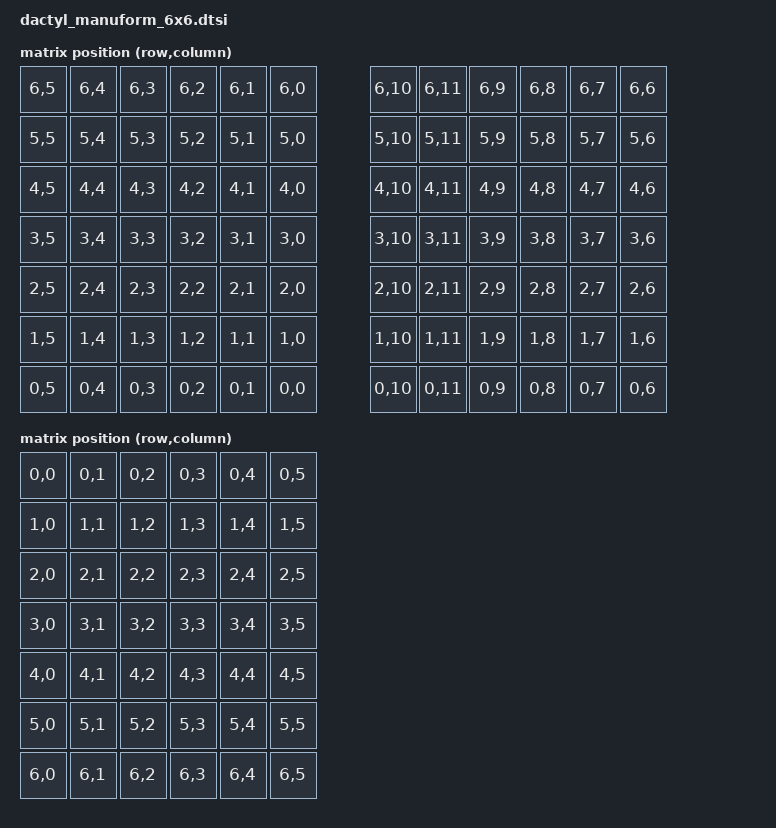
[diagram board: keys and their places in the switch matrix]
/*
 * Dactyl Manuform 6x6 – wspólna definicja tarczy (DTSI)
 *
 * Układ: 6 kolumn × 7 wierszy na każdą połowę = 42 klawisze / strona
 * Razem: 84 klawisze (12 kolumn logicznych × 7 wierszy)
 *
 * Role:
 *   Lewa  połowa = CENTRAL  (łączy się z komputerem, obsługuje ZMK Studio)
 *   Prawa połowa = PERIPHERAL (skanuje lokalnie, wysyła przez BLE do lewej)
 *
 * Mapowanie kolumn w macierzy ZMK:
 *   Lewa  (central,    cols 0-5):  D4(c0,inner) D6(c1) D5(c2) D7(c3) D8(c4) D9(c5,outer)
 *   Prawa (peripheral, cols 6-11): D9(c6,outer) D8(c7) D7(c8) D5(c9) D4(c10,inner) D6(c11)
 *
 * Wiersze: Row0=D10(dolny/kciuk) … Row6=D21(górny/F-klawisze)
 */

#include <dt-bindings/zmk/matrix_transform.h>
#include <physical_layouts.dtsi>

/ {
    chosen {
        zmk,kscan = &kscan0;
        zmk,physical-layout = &default_layout;
    };

    /*
     * Transformacja macierzy 7 wierszy × 12 kolumn = 84 klawisze.
     *
     * Pierwsze 6 pozycji w wierszu = prawa strona (peripheral, cols 6-11):
     *   RC(r,10) RC(r,11) RC(r,9) RC(r,8) RC(r,7) RC(r,6)
     *   = D4(inner) D6  D5  D7  D8  D9(outer)
     *
     * Ostatnie 6 pozycji w wierszu = lewa strona (central, cols 0-5):
     *   RC(r,0) RC(r,1) RC(r,2) RC(r,3) RC(r,4) RC(r,5)
     *   = D4(inner) D6  D5  D7  D8  D9(outer)
     */
    /*
     * Transformacja dla lewej połowy (central, cols 0-5).
     * Prawa połowa (peripheral) ma osobną transformację w right.overlay z col-offset=6.
     *
     * Kolejność pozycji w keymapie (każdy wiersz, 12 klawiszy):
     *   pos 0-5  = prawa strona: inner(D4)→D6→D5→D7→D8→outer(D9)
     *   pos 6-11 = lewa strona:  inner(D4)→D6→D5→D7→D8→outer(D9)
     *
     * Prawa cols po col-offset=6: lokalny col0→global6, col1→7, col2→8, col3→9, col4→10, col5→11
     * Kolejność prawej w overlay: D9(col0), D8(col1), D7(col2), D5(col3), D4(col4), D6(col5)
     * → global: D9=6, D8=7, D7=8, D5=9, D4=10, D6=11
     */
    default_transform: keymap_transform_0 {
        compatible = "zmk,matrix-transform";
        columns = <12>;
        rows = <7>;
        map = <
            RC(0,10) RC(0,11) RC(0,9) RC(0,8) RC(0,7) RC(0,6)   RC(0,0) RC(0,1) RC(0,2) RC(0,3) RC(0,4) RC(0,5)
            RC(1,10) RC(1,11) RC(1,9) RC(1,8) RC(1,7) RC(1,6)   RC(1,0) RC(1,1) RC(1,2) RC(1,3) RC(1,4) RC(1,5)
            RC(2,10) RC(2,11) RC(2,9) RC(2,8) RC(2,7) RC(2,6)   RC(2,0) RC(2,1) RC(2,2) RC(2,3) RC(2,4) RC(2,5)
            RC(3,10) RC(3,11) RC(3,9) RC(3,8) RC(3,7) RC(3,6)   RC(3,0) RC(3,1) RC(3,2) RC(3,3) RC(3,4) RC(3,5)
            RC(4,10) RC(4,11) RC(4,9) RC(4,8) RC(4,7) RC(4,6)   RC(4,0) RC(4,1) RC(4,2) RC(4,3) RC(4,4) RC(4,5)
            RC(5,10) RC(5,11) RC(5,9) RC(5,8) RC(5,7) RC(5,6)   RC(5,0) RC(5,1) RC(5,2) RC(5,3) RC(5,4) RC(5,5)
            RC(6,10) RC(6,11) RC(6,9) RC(6,8) RC(6,7) RC(6,6)   RC(6,0) RC(6,1) RC(6,2) RC(6,3) RC(6,4) RC(6,5)
        >;
    };

    /*
     * Transformacja dla prawej połowy (peripheral).
     * col-offset=6: lokalny col N → globalny col N+6
     * Cols w overlay: D9(0→6), D8(1→7), D7(2→8), D5(3→9), D4(4→10), D6(5→11)
     */
    right_transform: keymap_transform_1 {
        compatible = "zmk,matrix-transform";
        columns = <6>;
        rows = <7>;
        col-offset = <6>;
        map = <
            RC(0,0) RC(0,1) RC(0,2) RC(0,3) RC(0,4) RC(0,5)
            RC(1,0) RC(1,1) RC(1,2) RC(1,3) RC(1,4) RC(1,5)
            RC(2,0) RC(2,1) RC(2,2) RC(2,3) RC(2,4) RC(2,5)
            RC(3,0) RC(3,1) RC(3,2) RC(3,3) RC(3,4) RC(3,5)
            RC(4,0) RC(4,1) RC(4,2) RC(4,3) RC(4,4) RC(4,5)
            RC(5,0) RC(5,1) RC(5,2) RC(5,3) RC(5,4) RC(5,5)
            RC(6,0) RC(6,1) RC(6,2) RC(6,3) RC(6,4) RC(6,5)
        >;
    };

    /*
     * Fizyczny układ klawiszy dla ZMK Studio.
     * Jednostka: centi-keyunit (100 = 1U).
     * Format: <&key_physical_attrs w h x y r rx ry>
     *
     * Kolejność wpisów = kolejność pozycji w keymapie (0–83):
     *   pos 0-5  = prawa strona, inner→outer, x=700…1200
     *   pos 6-11 = lewa strona,  inner→outer, x=500…0
     *
     * Wiersze (y):
     *   Row 0 kciuk dół   → y=600
     *   Row 1 kciuk górny → y=500
     *   Row 2 N/B-rząd    → y=400
     *   Row 3 H/G-rząd    → y=300
     *   Row 4 Y/T-rząd    → y=200
     *   Row 5 cyfry        → y=100
     *   Row 6 F-klawisze  → y=0
     */
    default_layout: default_layout {
        compatible = "zmk,physical-layout";
        display-name = "Dactyl MF 6x6";
        transform = <&default_transform>;
        keys =
            /* ── Row 0: kciuk dół ─────────────────────────────────────── */
            /* prawa strona (inner→outer, x=700…1200) */
              <&key_physical_attrs 100 100  700 600 0 0 0>
            , <&key_physical_attrs 100 100  800 600 0 0 0>
            , <&key_physical_attrs 100 100  900 600 0 0 0>
            , <&key_physical_attrs 100 100 1000 600 0 0 0>
            , <&key_physical_attrs 100 100 1100 600 0 0 0>
            , <&key_physical_attrs 100 100 1200 600 0 0 0>
            /* lewa strona (inner→outer, x=500…0) */
            , <&key_physical_attrs 100 100  500 600 0 0 0>
            , <&key_physical_attrs 100 100  400 600 0 0 0>
            , <&key_physical_attrs 100 100  300 600 0 0 0>
            , <&key_physical_attrs 100 100  200 600 0 0 0>
            , <&key_physical_attrs 100 100  100 600 0 0 0>
            , <&key_physical_attrs 100 100    0 600 0 0 0>
            /* ── Row 1: kciuk górny ────────────────────────────────────── */
            , <&key_physical_attrs 100 100  700 500 0 0 0>
            , <&key_physical_attrs 100 100  800 500 0 0 0>
            , <&key_physical_attrs 100 100  900 500 0 0 0>
            , <&key_physical_attrs 100 100 1000 500 0 0 0>
            , <&key_physical_attrs 100 100 1100 500 0 0 0>
            , <&key_physical_attrs 100 100 1200 500 0 0 0>
            , <&key_physical_attrs 100 100  500 500 0 0 0>
            , <&key_physical_attrs 100 100  400 500 0 0 0>
            , <&key_physical_attrs 100 100  300 500 0 0 0>
            , <&key_physical_attrs 100 100  200 500 0 0 0>
            , <&key_physical_attrs 100 100  100 500 0 0 0>
            , <&key_physical_attrs 100 100    0 500 0 0 0>
            /* ── Row 2: N/B-rząd ───────────────────────────────────────── */
            , <&key_physical_attrs 100 100  700 400 0 0 0>
            , <&key_physical_attrs 100 100  800 400 0 0 0>
            , <&key_physical_attrs 100 100  900 400 0 0 0>
            , <&key_physical_attrs 100 100 1000 400 0 0 0>
            , <&key_physical_attrs 100 100 1100 400 0 0 0>
            , <&key_physical_attrs 100 100 1200 400 0 0 0>
            , <&key_physical_attrs 100 100  500 400 0 0 0>
            , <&key_physical_attrs 100 100  400 400 0 0 0>
            , <&key_physical_attrs 100 100  300 400 0 0 0>
            , <&key_physical_attrs 100 100  200 400 0 0 0>
            , <&key_physical_attrs 100 100  100 400 0 0 0>
            , <&key_physical_attrs 100 100    0 400 0 0 0>
            /* ── Row 3: H/G-rząd ───────────────────────────────────────── */
            , <&key_physical_attrs 100 100  700 300 0 0 0>
            , <&key_physical_attrs 100 100  800 300 0 0 0>
            , <&key_physical_attrs 100 100  900 300 0 0 0>
            , <&key_physical_attrs 100 100 1000 300 0 0 0>
            , <&key_physical_attrs 100 100 1100 300 0 0 0>
            , <&key_physical_attrs 100 100 1200 300 0 0 0>
            , <&key_physical_attrs 100 100  500 300 0 0 0>
            , <&key_physical_attrs 100 100  400 300 0 0 0>
            , <&key_physical_attrs 100 100  300 300 0 0 0>
            , <&key_physical_attrs 100 100  200 300 0 0 0>
            , <&key_physical_attrs 100 100  100 300 0 0 0>
            , <&key_physical_attrs 100 100    0 300 0 0 0>
            /* ── Row 4: Y/T-rząd ───────────────────────────────────────── */
            , <&key_physical_attrs 100 100  700 200 0 0 0>
            , <&key_physical_attrs 100 100  800 200 0 0 0>
            , <&key_physical_attrs 100 100  900 200 0 0 0>
            , <&key_physical_attrs 100 100 1000 200 0 0 0>
            , <&key_physical_attrs 100 100 1100 200 0 0 0>
            , <&key_physical_attrs 100 100 1200 200 0 0 0>
            , <&key_physical_attrs 100 100  500 200 0 0 0>
            , <&key_physical_attrs 100 100  400 200 0 0 0>
            , <&key_physical_attrs 100 100  300 200 0 0 0>
            , <&key_physical_attrs 100 100  200 200 0 0 0>
            , <&key_physical_attrs 100 100  100 200 0 0 0>
            , <&key_physical_attrs 100 100    0 200 0 0 0>
            /* ── Row 5: cyfry ──────────────────────────────────────────── */
            , <&key_physical_attrs 100 100  700 100 0 0 0>
            , <&key_physical_attrs 100 100  800 100 0 0 0>
            , <&key_physical_attrs 100 100  900 100 0 0 0>
            , <&key_physical_attrs 100 100 1000 100 0 0 0>
            , <&key_physical_attrs 100 100 1100 100 0 0 0>
            , <&key_physical_attrs 100 100 1200 100 0 0 0>
            , <&key_physical_attrs 100 100  500 100 0 0 0>
            , <&key_physical_attrs 100 100  400 100 0 0 0>
            , <&key_physical_attrs 100 100  300 100 0 0 0>
            , <&key_physical_attrs 100 100  200 100 0 0 0>
            , <&key_physical_attrs 100 100  100 100 0 0 0>
            , <&key_physical_attrs 100 100    0 100 0 0 0>
            /* ── Row 6: F-klawisze (TOP) ───────────────────────────────── */
            , <&key_physical_attrs 100 100  700   0 0 0 0>
            , <&key_physical_attrs 100 100  800   0 0 0 0>
            , <&key_physical_attrs 100 100  900   0 0 0 0>
            , <&key_physical_attrs 100 100 1000   0 0 0 0>
            , <&key_physical_attrs 100 100 1100   0 0 0 0>
            , <&key_physical_attrs 100 100 1200   0 0 0 0>
            , <&key_physical_attrs 100 100  500   0 0 0 0>
            , <&key_physical_attrs 100 100  400   0 0 0 0>
            , <&key_physical_attrs 100 100  300   0 0 0 0>
            , <&key_physical_attrs 100 100  200   0 0 0 0>
            , <&key_physical_attrs 100 100  100   0 0 0 0>
            , <&key_physical_attrs 100 100    0   0 0 0 0>
            ;
    };
};
